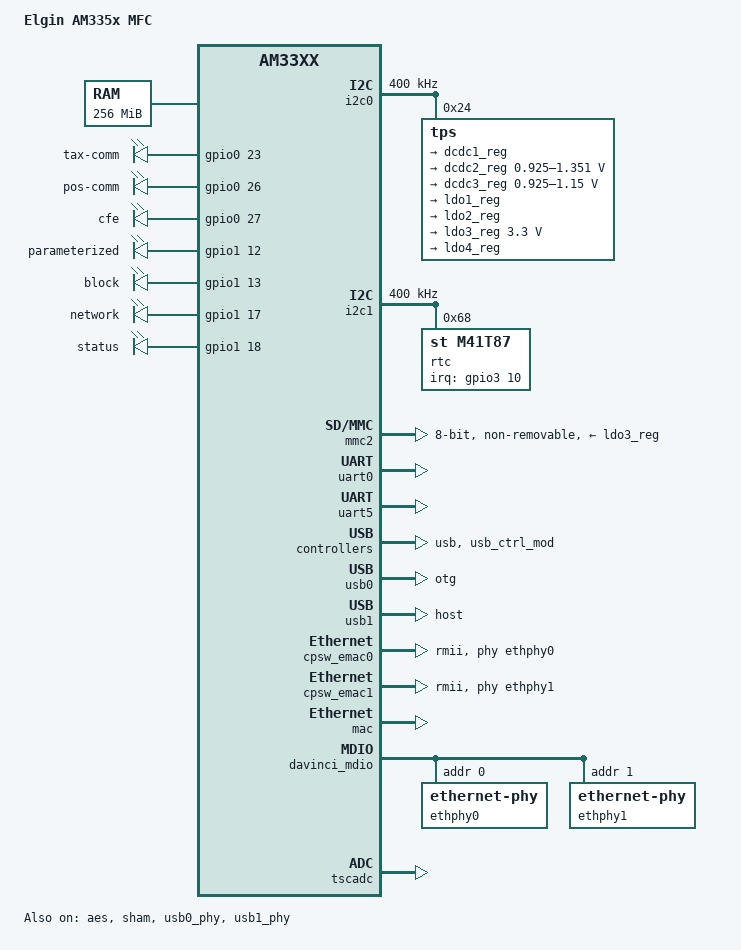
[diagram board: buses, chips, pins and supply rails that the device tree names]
// SPDX-License-Identifier: GPL-2.0-only
/*
 * Copyright (C) 2012 Texas Instruments Incorporated - http://www.ti.com/
 */
/dts-v1/;

#include "am33xx.dtsi"
#include <dt-bindings/interrupt-controller/irq.h>

/ {
	model = "Elgin AM335x MFC";
	compatible = "elgin,am335x-mfc", "ti,am33xx";

	chosen {
		stdout-path = &uart0;
		tick-timer = &timer2;
	};

	cpus {
		cpu@0 {
			cpu0-supply = <&dcdc2_reg>;
		};
	};

	memory@80000000 {
		device_type = "memory";
		reg = <0x80000000 0x10000000>;
	};

	leds {
		pinctrl-names = "default";
		pinctrl-0 = <&user_leds>;
		compatible = "gpio-leds";

		led1 {
			label = "tax-comm";
			gpios = <&gpio0 23 GPIO_ACTIVE_HIGH>;
			default-state = "off";
		};

		led2 {
			label = "pos-comm";
			gpios = <&gpio0 26 GPIO_ACTIVE_HIGH>;
			linux,default-trigger = "timer";
			default-state = "off";
		};

		led3 {
			label = "cfe";
			gpios = <&gpio0 27 GPIO_ACTIVE_HIGH>;
			default-state = "off";
		};

		led4 {
			label = "parameterized";
			gpios = <&gpio1 12 GPIO_ACTIVE_HIGH>;
			default-state = "off";
		};

		led5 {
			label = "block";
			gpios = <&gpio1 13 GPIO_ACTIVE_HIGH>;
			default-state = "off";
		};

		led6 {
			label = "network";
			gpios = <&gpio1 17 GPIO_ACTIVE_HIGH>;
			default-state = "off";
		};

		led7 {
			label = "status";
			gpios = <&gpio1 18 GPIO_ACTIVE_HIGH>;
			default-state = "off";
		};
	};
};

&aes {
	status = "okay";
};

&cppi41dma  {
	status = "okay";
};

&i2c0 {
	pinctrl-names = "default";
	pinctrl-0 = <&i2c0_pins>;
	clock-frequency = <400000>;
	status = "okay";

	tps: tps@24 {
		reg = <0x24>;
	};
};

&i2c1 {
	pinctrl-names = "default";
	pinctrl-0 = <&i2c1_pins>;
	clock-frequency = <400000>;
	status = "okay";

	rtc@68 {
		compatible = "st,m41t87";
		reg = <0x68>;
		pinctrl-names = "default";
		pinctrl-0 = <&rtc_irq_pin>;
		interrupt-parent = <&gpio3>;
		interrupts = <10 IRQ_TYPE_EDGE_FALLING>;
		st,use-tamper1;
		st,use-tamper2;
	};
};

&mmc2 {
	pinctrl-names = "default";
	pinctrl-0 = <&emmc_pins>;
	bus-width = <8>;
	no-1-8-v;
	max-frequency = <26000000>;
	vmmc-supply = <&ldo3_reg>;
	non-removable;
	status = "okay";
};

&sham {
	status = "okay";
};

/include/ "tps65217.dtsi"

&tps {
	ti,pmic-shutdown-controller;

	charger {
		tps65217,mux-out = <1>;
		tps65217,mux-out-divider = <2>;
		io-channels = <&am335x_adc 7>;
		io-channel-names = "vbat";
		status = "okay";
	};

	regulators {
		dcdc1_reg: regulator@0 {
			regulator-name = "vdds_dpr";
			regulator-always-on;
		};

		dcdc2_reg: regulator@1 {
			/* VDD_MPU voltage limits 0.95V - 1.325V with +2% tolerance */
			regulator-name = "vdd_mpu";
			regulator-min-microvolt = <925000>;
			regulator-max-microvolt = <1351500>;
			regulator-boot-on;
			regulator-always-on;
		};

		dcdc3_reg: regulator@2 {
			/* VDD_CORE voltage limits 0.95V - 1.1V with +/-4% tolerance */
			regulator-name = "vdd_core";
			regulator-min-microvolt = <925000>;
			regulator-max-microvolt = <1150000>;
			regulator-boot-on;
			regulator-always-on;
		};

		ldo1_reg: regulator@3 {
			regulator-name = "vio,vrtc,vdds";
			regulator-always-on;
		};

		ldo2_reg: regulator@4 {
			regulator-name = "vdd_3v3aux";
			regulator-always-on;
		};

		ldo3_reg: regulator@5 {
			regulator-name = "vdd_3v3";
			regulator-min-microvolt = <3300000>;
			regulator-max-microvolt = <3300000>;
			regulator-always-on;
		};

		ldo4_reg: regulator@6 {
			regulator-name = "vdd_3v3a";
			regulator-always-on;
		};
	};
};

&uart0 {
	pinctrl-names = "default";
	pinctrl-0 = <&uart0_pins>;
	status = "okay";
};

&uart5 {
	pinctrl-names = "default";
	pinctrl-0 = <&uart5_pins>;
	status = "okay";
};

&usb {
	status = "okay";
};

&usb_ctrl_mod {
	status = "okay";
};

&usb0_phy {
	status = "okay";
};

&usb1_phy {
	status = "okay";
};

&usb0 {
	dr_mode = "otg";
	interrupts-extended = <&intc 18 &tps 0>;
	interrupt-names = "mc", "vbus";
	status = "okay";
};

&usb1 {
	dr_mode = "host";
	status = "okay";
};

&cpsw_emac0 {
	phy-handle = <&ethphy0>;
	phy-mode = "rmii";
	dual_emac_res_vlan = <1>;
};

&cpsw_emac1 {
	phy-handle = <&ethphy1>;
	phy-mode = "rmii";
	dual_emac_res_vlan = <2>;
	status = "okay";
};

&mac {
	pinctrl-names = "default", "sleep";
	pinctrl-0 = <&cpsw_default>;
	pinctrl-1 = <&cpsw_sleep>;
	dual_emac;
	status = "okay";
};

&davinci_mdio {
	pinctrl-names = "default", "sleep";
	pinctrl-0 = <&davinci_mdio_default>;
	pinctrl-1 = <&davinci_mdio_sleep>;
	status = "okay";

	ethphy0: ethernet-phy@0 {
		reg = <0>;
	};

	ethphy1: ethernet-phy@1 {
		reg = <1>;
	};
};

&tscadc {
	status = "okay";
	adc {
		/* Describe all channels as a workaround for now */
		ti,adc-channels = <0 1 2 3 4 5 6 7>;
	};
};

&am33xx_pinmux {
	pinctrl-names = "default";
	pinctrl-0 = <&pinctrl_hog>;

	pinctrl_hog: hoggrp {
		pinctrl-single,pins = <
			AM33XX_PADCONF(AM335X_PIN_XDMA_EVENT_INTR1, PIN_OUTPUT_PULLDOWN, MUX_MODE3)	/* xdma_event_intr1.clkout2 */
			AM33XX_PADCONF(AM335X_PIN_EMU0, PIN_OUTPUT_PULLUP, MUX_MODE7)
			AM33XX_PADCONF(AM335X_PIN_EMU1, PIN_OUTPUT_PULLUP, MUX_MODE7)
		>;
	};

	emmc_pins: emmcpinsgrp {
		pinctrl-single,pins = <
			AM33XX_PADCONF(AM335X_PIN_GPMC_CSN1, PIN_INPUT_PULLUP, MUX_MODE2) /* gpmc_csn1.mmc1_clk */
			AM33XX_PADCONF(AM335X_PIN_GPMC_CSN2, PIN_INPUT_PULLUP, MUX_MODE2) /* gpmc_csn2.mmc1_cmd */
			AM33XX_PADCONF(AM335X_PIN_GPMC_AD0, PIN_INPUT_PULLUP, MUX_MODE1) /* gpmc_ad0.mmc1_dat0 */
			AM33XX_PADCONF(AM335X_PIN_GPMC_AD1, PIN_INPUT_PULLUP, MUX_MODE1) /* gpmc_ad1.mmc1_dat1 */
			AM33XX_PADCONF(AM335X_PIN_GPMC_AD2, PIN_INPUT_PULLUP, MUX_MODE1) /* gpmc_ad2.mmc1_dat2 */
			AM33XX_PADCONF(AM335X_PIN_GPMC_AD3, PIN_INPUT_PULLUP, MUX_MODE1) /* gpmc_ad3.mmc1_dat3 */
			AM33XX_PADCONF(AM335X_PIN_GPMC_AD4, PIN_INPUT_PULLUP, MUX_MODE1) /* gpmc_ad4.mmc1_dat4 */
			AM33XX_PADCONF(AM335X_PIN_GPMC_AD5, PIN_INPUT_PULLUP, MUX_MODE1) /* gpmc_ad5.mmc1_dat5 */
			AM33XX_PADCONF(AM335X_PIN_GPMC_AD6, PIN_INPUT_PULLUP, MUX_MODE1) /* gpmc_ad6.mmc1_dat6 */
			AM33XX_PADCONF(AM335X_PIN_GPMC_AD7, PIN_INPUT_PULLUP, MUX_MODE1) /* gpmc_ad7.mmc1_dat7 */
		>;
	};

	i2c0_pins: i2c0pinsgrp {
		pinctrl-single,pins = <
			AM33XX_PADCONF(AM335X_PIN_I2C0_SDA, PIN_INPUT_PULLUP, MUX_MODE0)	/* i2c0_sda.i2c0_sda */
			AM33XX_PADCONF(AM335X_PIN_I2C0_SCL, PIN_INPUT_PULLUP, MUX_MODE0)	/* i2c0_scl.i2c0_scl */
		>;
	};

	i2c1_pins: pinmux_i2c1_pins {
		pinctrl-single,pins = <
			AM33XX_PADCONF(AM335X_PIN_SPI0_D1, PIN_INPUT_PULLUP, MUX_MODE2)	/* spi0_d1.i2c1_sda */
			AM33XX_PADCONF(AM335X_PIN_SPI0_CS0, PIN_INPUT_PULLUP, MUX_MODE2)	/* spi0_cs0.i2c1_scl */
		>;
	};

	uart0_pins: uart0pinsgrp {
		pinctrl-single,pins = <
			AM33XX_PADCONF(AM335X_PIN_UART0_RXD, PIN_INPUT_PULLUP, MUX_MODE0)	/* uart0_rxd.uart0_rxd */
			AM33XX_PADCONF(AM335X_PIN_UART0_TXD, PIN_OUTPUT_PULLDOWN, MUX_MODE0)	/* uart0_txd.uart0_txd */
		>;
	};

	uart5_pins: uart5pinsgrp {
		pinctrl-single,pins = <
			AM33XX_PADCONF(AM335X_PIN_LCD_DATA9, PIN_INPUT_PULLUP, MUX_MODE4)	/* lcd_data9.uart5_rxd */
			AM33XX_PADCONF(AM335X_PIN_LCD_DATA8, PIN_OUTPUT_PULLDOWN, MUX_MODE4)	/* lcd_data8.uart5_txd */
		>;
	};

	cpsw_default: cpsw_default {
		pinctrl-single,pins = <
			/* Slave 1, RMII mode */
			AM33XX_PADCONF(AM335X_PIN_MII1_CRS, PIN_INPUT_PULLUP, MUX_MODE1)	/* mii1_crs.rmii1_crs_dv */
			AM33XX_PADCONF(AM335X_PIN_RMII1_REF_CLK, PIN_INPUT_PULLUP, MUX_MODE0)
			AM33XX_PADCONF(AM335X_PIN_MII1_RXD0, PIN_INPUT_PULLUP, MUX_MODE1)
			AM33XX_PADCONF(AM335X_PIN_MII1_RXD1, PIN_INPUT_PULLUP, MUX_MODE1)
			AM33XX_PADCONF(AM335X_PIN_MII1_RX_ER, PIN_INPUT_PULLUP, MUX_MODE1)	/* mii1_rxerr.rmii1_rxerr */
			AM33XX_PADCONF(AM335X_PIN_MII1_TXD0, PIN_OUTPUT_PULLDOWN, MUX_MODE1)	/* mii1_txd0.rmii1_txd0 */
			AM33XX_PADCONF(AM335X_PIN_MII1_TXD1, PIN_OUTPUT_PULLDOWN, MUX_MODE1)	/* mii1_txd1.rmii1_txd1 */
			AM33XX_PADCONF(AM335X_PIN_MII1_TX_EN, PIN_OUTPUT_PULLDOWN, MUX_MODE1)	/* mii1_txen.rmii1_txen */
			/* Slave 2, RMII mode */
			AM33XX_PADCONF(AM335X_PIN_GPMC_WAIT0, PIN_INPUT_PULLUP, MUX_MODE3)	/* gpmc_wait0.rmii2_crs_dv */
			AM33XX_PADCONF(AM335X_PIN_MII1_COL, PIN_INPUT_PULLUP, MUX_MODE1)	/* mii1_col.rmii2_refclk */
			AM33XX_PADCONF(AM335X_PIN_GPMC_A11, PIN_INPUT_PULLUP, MUX_MODE3)	/* gpmc_a11.rmii2_rxd0 */
			AM33XX_PADCONF(AM335X_PIN_GPMC_A10, PIN_INPUT_PULLUP, MUX_MODE3)	/* gpmc_a10.rmii2_rxd1 */
			AM33XX_PADCONF(AM335X_PIN_GPMC_WPN, PIN_INPUT_PULLUP, MUX_MODE3)	/* gpmc_wpn.rmii2_rxerr */
			AM33XX_PADCONF(AM335X_PIN_GPMC_A5, PIN_OUTPUT_PULLDOWN, MUX_MODE3)	/* gpmc_a5.rmii2_txd0 */
			AM33XX_PADCONF(AM335X_PIN_GPMC_A4, PIN_OUTPUT_PULLDOWN, MUX_MODE3)	/* gpmc_a4.rmii2_txd1 */
			AM33XX_PADCONF(AM335X_PIN_GPMC_A0, PIN_OUTPUT_PULLDOWN, MUX_MODE3)	/* gpmc_a0.rmii2_txen */
		>;
	};

	cpsw_sleep: cpsw_sleep {
		pinctrl-single,pins = <
			/* Slave 1 reset value */
			AM33XX_PADCONF(AM335X_PIN_MII1_CRS, PIN_INPUT_PULLDOWN, MUX_MODE7)
			AM33XX_PADCONF(AM335X_PIN_RMII1_REF_CLK, PIN_INPUT_PULLDOWN, MUX_MODE7)
			AM33XX_PADCONF(AM335X_PIN_MII1_RXD0, PIN_INPUT_PULLDOWN, MUX_MODE7)
			AM33XX_PADCONF(AM335X_PIN_MII1_RXD1, PIN_INPUT_PULLDOWN, MUX_MODE7)
			AM33XX_PADCONF(AM335X_PIN_MII1_RX_ER, PIN_INPUT_PULLDOWN, MUX_MODE7)
			AM33XX_PADCONF(AM335X_PIN_MII1_TXD0, PIN_INPUT_PULLDOWN, MUX_MODE7)
			AM33XX_PADCONF(AM335X_PIN_MII1_TXD1, PIN_INPUT_PULLDOWN, MUX_MODE7)
			AM33XX_PADCONF(AM335X_PIN_MII1_TX_EN, PIN_INPUT_PULLDOWN, MUX_MODE7)

			/* Slave 2 reset value */
			AM33XX_PADCONF(AM335X_PIN_GPMC_WAIT0, PIN_INPUT_PULLDOWN, MUX_MODE7)
			AM33XX_PADCONF(AM335X_PIN_MII1_COL, PIN_INPUT_PULLDOWN, MUX_MODE7)
			AM33XX_PADCONF(AM335X_PIN_GPMC_A11, PIN_INPUT_PULLDOWN, MUX_MODE7)
			AM33XX_PADCONF(AM335X_PIN_GPMC_A10, PIN_INPUT_PULLDOWN, MUX_MODE7)
			AM33XX_PADCONF(AM335X_PIN_GPMC_WPN, PIN_INPUT_PULLDOWN, MUX_MODE7)
			AM33XX_PADCONF(AM335X_PIN_GPMC_A5, PIN_INPUT_PULLDOWN, MUX_MODE7)
			AM33XX_PADCONF(AM335X_PIN_GPMC_A4, PIN_INPUT_PULLDOWN, MUX_MODE7)
			AM33XX_PADCONF(AM335X_PIN_GPMC_A0, PIN_INPUT_PULLDOWN, MUX_MODE7)
		>;
	};

	davinci_mdio_default: davinci_mdio_default {
		pinctrl-single,pins = <
			/* MDIO */
			AM33XX_PADCONF(AM335X_PIN_MDIO, PIN_INPUT_PULLUP | SLEWCTRL_FAST, MUX_MODE0)
			AM33XX_PADCONF(AM335X_PIN_MDC, PIN_OUTPUT_PULLUP, MUX_MODE0)
		>;
	};

	davinci_mdio_sleep: davinci_mdio_sleep {
		pinctrl-single,pins = <
			/* MDIO reset value */
			AM33XX_PADCONF(AM335X_PIN_MDIO, PIN_INPUT_PULLDOWN, MUX_MODE7)
			AM33XX_PADCONF(AM335X_PIN_MDC, PIN_INPUT_PULLDOWN, MUX_MODE7)
		>;
	};

	user_leds: user_leds {
		pinctrl-single,pins = <
			AM33XX_PADCONF(AM335X_PIN_GPMC_AD9, PIN_OUTPUT, MUX_MODE7)
			AM33XX_PADCONF(AM335X_PIN_GPMC_AD10, PIN_OUTPUT, MUX_MODE7)
			AM33XX_PADCONF(AM335X_PIN_GPMC_AD11, PIN_OUTPUT, MUX_MODE7)
			AM33XX_PADCONF(AM335X_PIN_GPMC_AD12, PIN_OUTPUT, MUX_MODE7)
			AM33XX_PADCONF(AM335X_PIN_GPMC_AD13, PIN_OUTPUT, MUX_MODE7)
			AM33XX_PADCONF(AM335X_PIN_GPMC_A1, PIN_OUTPUT, MUX_MODE7)
			AM33XX_PADCONF(AM335X_PIN_GPMC_A2, PIN_OUTPUT, MUX_MODE7)
		>;
	};

	rtc_irq_pin: rtc_irq_pin {
		pinctrl-single,pins = <
			AM33XX_PADCONF(AM335X_PIN_MII1_RX_CLK, PIN_INPUT, MUX_MODE7)
		>;
	};
};
